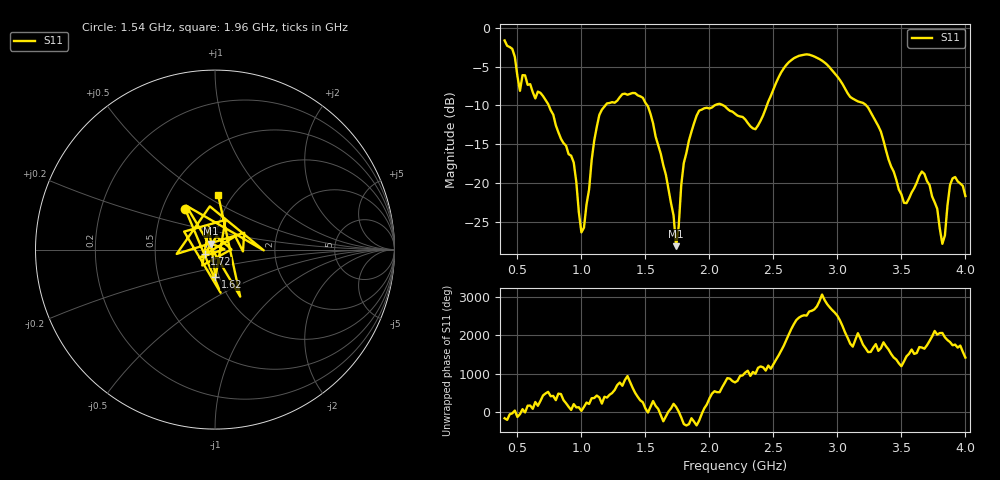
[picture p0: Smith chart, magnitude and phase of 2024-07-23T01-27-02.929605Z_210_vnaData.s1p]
!Created with skrf (http://scikit-rf.org).
# Hz S RI R 50.0
!freq ReS11 ImS11
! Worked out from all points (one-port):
!   181 points, 400 MHz to 4 GHz, reference 50 ohm
!   lowest |S11| = -28.1 dB at 1.74 GHz (marker M1), VSWR 1.08, Z = 47.9 + j3.22 ohm
!   |S11| at or under -10 dB: 744.6 MHz to 1.187 GHz (442.3 MHz wide, 45.8 % of centre); 1.515 GHz to 2.04 GHz (525.2 MHz wide, 29.6 % of centre); 3.225 GHz to end of sweep (the widest 3 of 4)
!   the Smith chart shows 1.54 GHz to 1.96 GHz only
!   S11 on the Smith chart (normalised r, x): 1.54 GHz: 0.65, +0.32; 1.62 GHz: 0.96, -0.30; 1.72 GHz: 0.89, -0.05; 1.96 GHz: 0.86, +0.57
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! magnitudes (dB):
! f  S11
! 400 MHz  -1.7
! 480 MHz  -3.8
! 520 MHz  -8.1
! 560 MHz  -6.1
! 680 MHz  -8.4
! 860 MHz  -14.8
! 940 MHz  -17.3
! 1 GHz  -26.3
! 1.14 GHz  -11.2
! 1.3 GHz  -8.9
! 1.54 GHz  -11.1
! 1.62 GHz  -16.2
! 1.72 GHz  -24.1
! 1.74 GHz  -28.1
! 1.76 GHz  -25.6
! 1.8 GHz  -17.4
! 1.96 GHz  -10.4
! 2.2 GHz  -11.1
! 2.36 GHz  -13.1
! 2.66 GHz  -3.9
! 2.88 GHz  -4.2
! 3.1 GHz  -8.9
! 3.24 GHz  -10.3
! 3.56 GHz  -21.9
! 3.68 GHz  -18.8
! 3.82 GHz  -27.8
! 3.9 GHz  -19.4
! 4 GHz  -21.7
